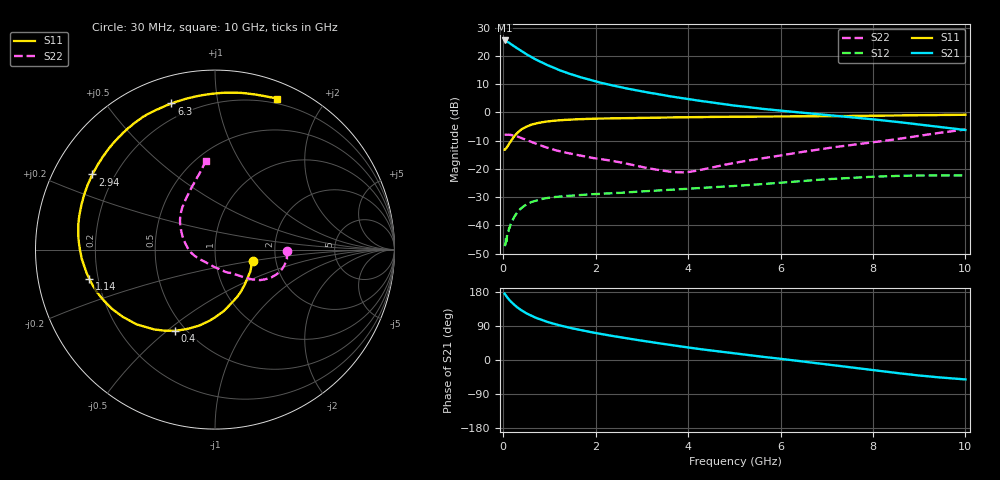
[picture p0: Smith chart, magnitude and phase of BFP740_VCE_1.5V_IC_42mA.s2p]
! Infineon Technologies  Discrete & RF Semiconductors
! BFP740
! VCE =  1.5 V,  IC =  42 mA
! Common Emitter S-Parameters:  Jan 2016
# GHz  S  MA  R  50
!  f  S11  S21  S12  S22
! GHz  MAG  ANG  MAG  ANG  MAG  ANG  MAG  ANG
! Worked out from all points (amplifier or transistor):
!   229 points, 30 MHz to 10 GHz, reference 50 ohm
!   highest |S21| = 25.5 dB at 30 MHz (marker M1)
!   |S21| within 3 dB of that: start of sweep to 324.6 MHz
!   unconditionally stable (mu >= 1): start of sweep to end of sweep
!   at 280 MHz: K = 1.58, MAG = 24.9 dB, |S12| = -35.9 dB
!   at 1.78 GHz: K = 1.38, MAG = 16.9 dB, |S12| = -29.1 dB
!   at 10 GHz: K = 2.03, MAG = 2.2 dB, |S12| = -22.3 dB
!   S11 on the Smith chart (normalised r, x): 30 MHz: 1.52, -0.20; 400 MHz: 0.44, -0.53; 1.14 GHz: 0.17, -0.11; 2.94 GHz: 0.12, +0.28; 6.3 GHz: 0.13, +0.74; 10 GHz: 0.15, +1.48
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0.03  0.2195 -16.7  18.8 175.0  0.0043 26.9  0.401 -0.9
0.04  0.2195 -22.0  18.51 173.2  0.0046 34.0  0.4024 -1.8
0.06  0.232 -32.1  18.34 169.6  0.0063 44.7  0.4046 -3.5
0.12  0.2732 -57.5  17.33 160.2  0.0084 47.2  0.4047 -7.4
0.2  0.3448 -81.5  15.59 149.8  0.0123 53.0  0.3955 -13.4
0.3  0.4313 -101.5  13.72 139.4  0.0168 51.9  0.3774 -20.1
0.4  0.5045 -116.2  12.09 130.7  0.0205 47.2  0.3518 -25.9
0.5  0.5597 -127.4  10.76 123.4  0.0235 42.8  0.3265 -30.4
0.6  0.6037 -136.4  9.645 117.2  0.0258 40.0  0.304 -34.0
0.7  0.6364 -144.0  8.694 111.7  0.0274 36.9  0.2817 -36.8
0.9  0.6838 -156.0  7.219 102.6  0.0301 31.8  0.2452 -40.9
1.14  0.7184 -166.8  5.941 94.0  0.032 28.3  0.2137 -44.9
1.4  0.7443 -176.1  4.946 86.1  0.0335 25.6  0.1908 -48.7
1.7  0.7637 175.1  4.14 78.3  0.0347 23.5  0.1704 -52.3
2.3  0.7855 161.1  3.086 64.7  0.0369 22.0  0.1416 -63.0
2.94  0.8009 148.5  2.417 52.1  0.0397 21.3  0.1118 -77.3
3.4  0.8114 140.4  2.069 43.6  0.0419 20.5  0.0948 -95.7
5.1  0.8413 117.6  1.298 15.9  0.0506 18.0  0.1326 -171.9
6.3  0.8499 106.6  1.021 -1.2  0.0599 14.4  0.1899 159.7
6.8  0.8555 101.2  0.934 -8.6  0.0641 11.5  0.2195 149.7
8.4  0.8832 81.7  0.697 -32.7  0.0749 -1.0  0.3272 119.5
10  0.9105 67.6  0.489 -51.3  0.077 -12.3  0.4984 95.9
